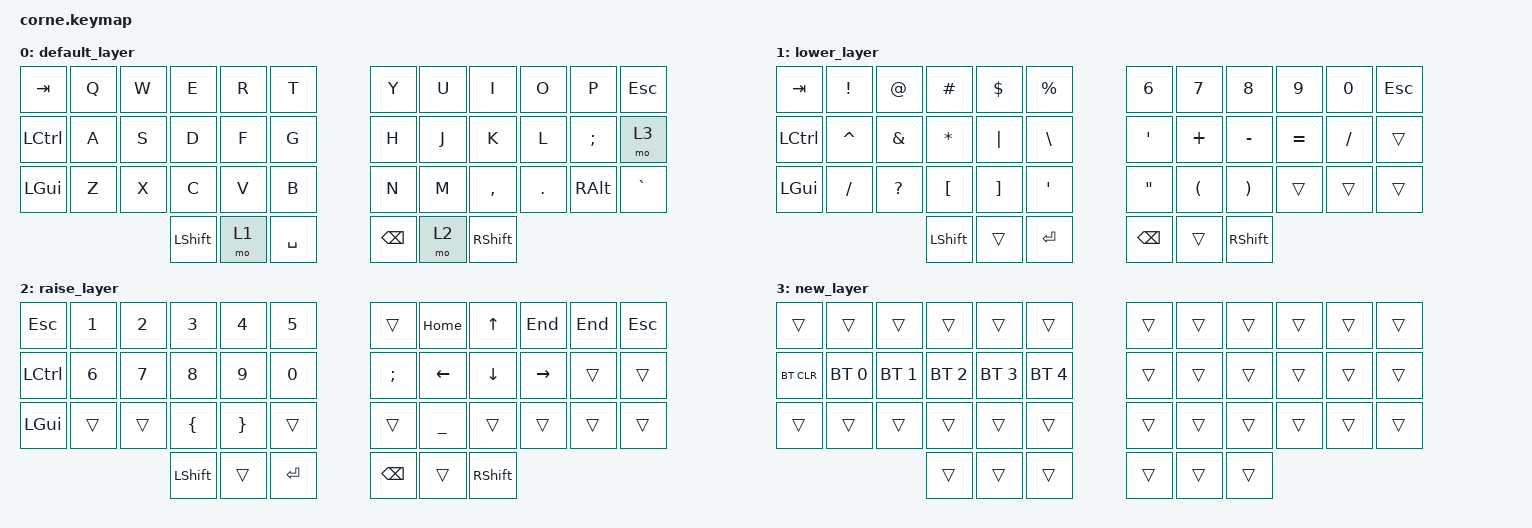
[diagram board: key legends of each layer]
/*
 * Copyright (c) 2020 The ZMK Contributors
 *
 * SPDX-License-Identifier: MIT
 */

#include <behaviors.dtsi>
#include <dt-bindings/zmk/keys.h>
#include <dt-bindings/zmk/bt.h>

 / {
    keymap {
        compatible = "zmk,keymap";

        default_layer {
            // -----------------------------------------------------------------------------------------
            // |  TAB |  Q  |  W  |  E  |  R  |  T  |   |  Y  |  U   |  I  |  O  |  P  | ESC |
            // | CTRL |  A  |  S  |  D  |  F  |  G  |   |  H  |  J   |  K  |  L  |  ;  | MOD |
            // | GUI  |  Z  |  X  |  C  |  V  |  B  |   |  N  |  M   |  ,  |  .  |  alt  | `   |
            //                    | LSHIFT | LWR | SPC |   | BSPC | RSE | RSHFT |
            // -----------------------------------------------------------------------------------------
            bindings = <
                &kp TAB   &kp Q      &kp W      &kp E      &kp R      &kp T        &kp Y      &kp U      &kp I       &kp O       &kp P        &kp ESC
                &kp LCTRL &kp A      &kp S      &kp D      &kp F      &kp G        &kp H      &kp J      &kp K       &kp L       &kp SEMI     &mo 3
                &kp LGUI  &kp Z      &kp X      &kp C      &kp V      &kp B        &kp N      &kp M      &kp COMMA   &kp DOT     &kp RALT     &kp GRAVE
                               &kp LSHFT    &mo 1       &kp SPACE      &kp BSPC   &mo 2      &kp RSHFT
            >;
        };

        lower_layer {
            // -----------------------------------------------------------------------------------------
            // |  TAB |  !  |  @  |  #  |  $  |  %  |   |  6  |  7  |  8  |  9  |  0  | ESC |
            // | LCTRL|  ^  |  &  |  *  |  |  |  \  |  '  |  +  |  -  |  =  |  /  |     | MOD |
            // | GUI  |  /  |  ?  |  {  |  } |  '   |  "   |  (   |  )   |     |     |      |
            //                 | LSHIFT |     | ENT |   | BSPC |     | RSHFT |
            // -----------------------------------------------------------------------------------------
            bindings = <
                &kp TAB     &kp EXCL    &kp AT      &kp HASH    &kp DLLR    &kp PRCNT      &kp N6      &kp N7      &kp N8      &kp N9      &kp N0      &kp ESC
                &kp LCTRL   &kp CARET   &kp AMPS    &kp ASTRK   &kp PIPE    &kp BSLH       &kp SQT   &kp PLUS    &kp MINUS   &kp EQUAL   &kp FSLH    &trans
                &kp LGUI    &kp FSLH    &kp QMARK   &kp LBKT    &kp RBKT    &kp SQT        &kp DQT     &kp LPAR    &kp RPAR    &trans      &trans      &trans
                               &kp LSHFT      &trans       &kp ENTER      &kp BSPC     &trans      &kp RSHFT
            >;
        };

        raise_layer {
            // -----------------------------------------------------------------------------------------
            // |  ESC |  1 |  2 |  3 |  4 |  5 |     | F6 | HOME | ↑ | END | F10 | ESC |
            // | LCTRL|  6 |  7 |  8 |  9 |  0 |     | ;  | ←   | ↓ | →   |     |      |
            // |  GUI |     |     |     |     |     |     | _ |     |     |      |      |      |
            //                     | LSHIFT |      | ENT |      | BSPC |      | RSHFT |
            // -----------------------------------------------------------------------------------------
            bindings = <
                // Row 1
                &kp ESC     &kp N1     &kp N2     &kp N3     &kp N4     &kp N5       &trans      &kp HOME      &kp UP     &kp END      &kp END      &kp ESC
                // Row 2
                &kp LCTRL   &kp N6     &kp N7     &kp N8     &kp N9     &kp N0       &kp SEMI      &kp LEFT    &kp DOWN     &kp RIGHT     &trans    &trans
                // Row 3
                &kp LGUI    &trans     &trans     &kp LBRC   &kp RBRC     &trans       &trans      &kp UNDERSCORE       &trans       &trans      &trans       &trans
                // Thumb row
                               &kp LSHFT   &trans      &kp ENTER      &kp BSPC     &trans      &kp RSHFT
            >;
        };

        new_layer {
            // -----------------------------------------------------------------------------------------
            // |      |      |      |      |      |      |   |      |     |     |     |     |     |
            // | BTCLR| BT1  | BT2  | BT3  | BT4  | BT5  |   |      |     |     |     |     |     |
            // |      |      |      |      |      |      |   |      |     |     |     |     |     |
            //                    |      |      |      |      |      |      |
            // -----------------------------------------------------------------------------------------
            bindings = <
                &trans &trans &trans &trans &trans &trans      &trans &trans &trans &trans &trans &trans
                &bt BT_CLR &bt BT_SEL 0 &bt BT_SEL 1 &bt BT_SEL 2 &bt BT_SEL 3 &bt BT_SEL 4      &trans &trans &trans &trans &trans &trans
                &trans &trans &trans &trans &trans &trans      &trans &trans &trans &trans &trans &trans
                               &trans &trans &trans      &trans &trans &trans
            >;
        };
    };
};
